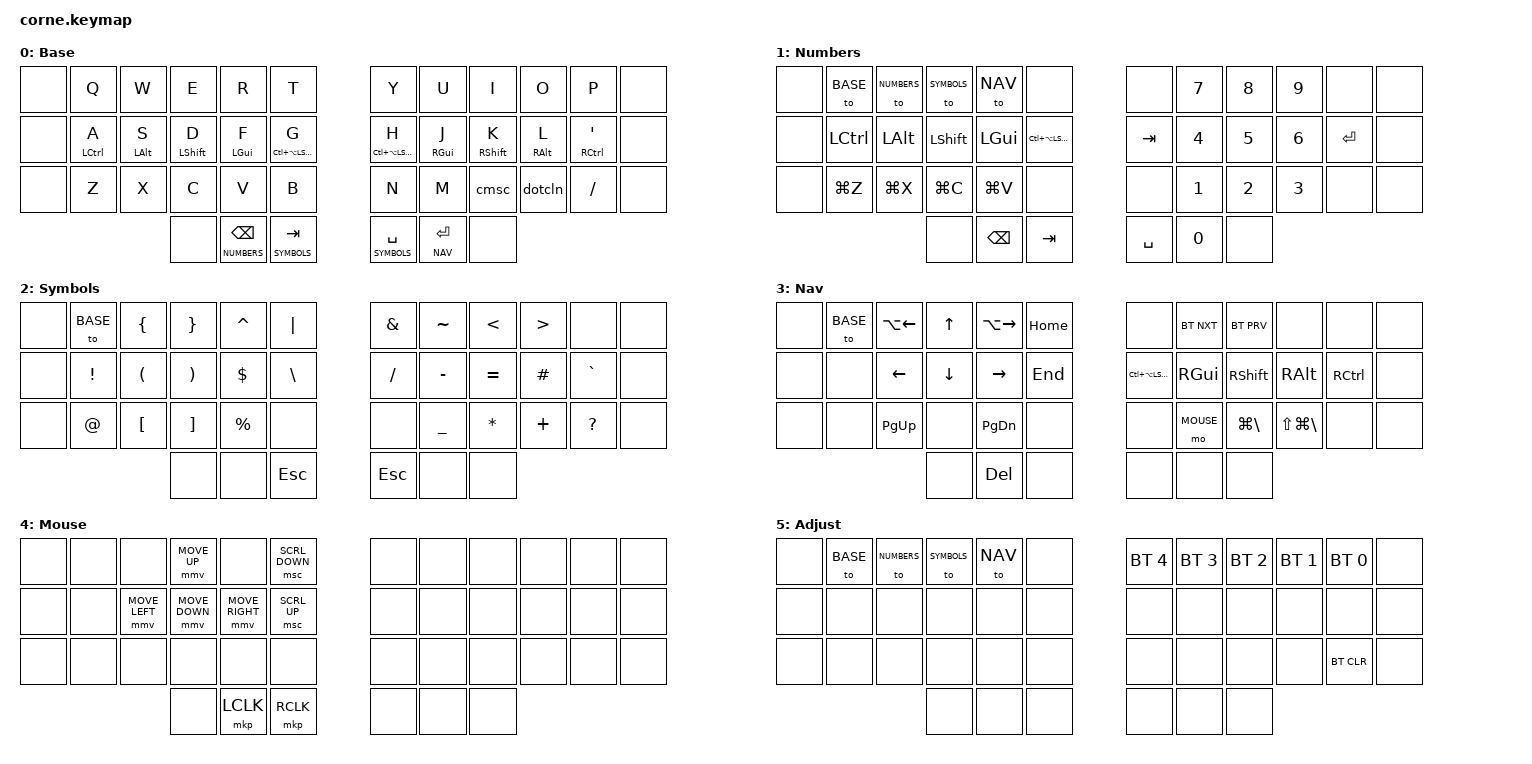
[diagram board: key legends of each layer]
/*
 * Copyright (c) 2020 The ZMK Contributors
 *
 * SPDX-License-Identifier: MIT
 */

#define ZMK_MOUSE_DEFAULT_MOVE_VAL 1500
#define ZMK_MOUSE_DEFAULT_SCRL_VAL 20

#include <behaviors.dtsi>
#include <behaviors/mouse_keys.dtsi>
#include <dt-bindings/zmk/keys.h>
#include <dt-bindings/zmk/mouse.h>
#include <dt-bindings/zmk/bt.h>

#define BASE    0
#define NUMBERS 1
#define SYMBOLS 2
#define NAV     3
#define MOUSE   4
#define ADJUST  5

#define EMOJI LC(LG(SPACE))
#define HYPER LC(LA(LS(LGUI)))
#define MEH LC(LA(LSHIFT))

#define OP_AUTOFILL LG(BACKSLASH)
#define OP_QUICKACC LS(LG(BACKSLASH))

#define KEYS_L 0 1 2 3 4 5 12 13 14 15 16 17 24 25 26 27 28 29
#define KEYS_R 6 7 8 9 10 11 18 19 20 21 22 23 30 31 32 33 34 35
#define THUMBS 36 37 38 39 40 41

&mt {
    quick-tap-ms = <180>;
};

&lt {
    quick-tap-ms = <180>;
};

&mmv {
    acceleration-exponent = <1>;
    time-to-max-speed-ms = <500>;
    delay-ms = <0>;
};

&msc {
    acceleration-exponent = <1>;
    time-to-max-speed-ms = <40>;
    delay-ms = <0>;
};

/ {
        behaviors {
            bhm: balanced_homerow_mods {
                compatible = "zmk,behavior-hold-tap";
                label = "HOMEROW_MODS";
                #binding-cells = <2>;
                bindings = <&kp>, <&kp>;
                flavor = "balanced";
                tapping-term-ms = <165>;
                quick-tap-ms = <145>;
            };
            // https://github.com/urob/zmk-config#timeless-homerow-mods
            thml: timeless_homerow_mods_left {
                compatible = "zmk,behavior-hold-tap";
                label = "TIMELESS_HOMEROW_MODS_LEFT";
                #binding-cells = <2>;
                bindings = <&kp>, <&kp>;
                flavor = "balanced";
                tapping-term-ms = <280>;
                quick-tap-ms = <180>;
                require-prior-idle-ms = <95>;
                hold-trigger-key-positions = <KEYS_R THUMBS>;
                hold-trigger-on-release;
            };
            thmr: timeless_homerow_mods_right {
                compatible = "zmk,behavior-hold-tap";
                label = "TIMELESS_HOMEROW_MODS_RIGHT";
                #binding-cells = <2>;
                bindings = <&kp>, <&kp>;
                flavor = "balanced";
                tapping-term-ms = <280>;
                quick-tap-ms = <180>;
                require-prior-idle-ms = <95>;
                hold-trigger-key-positions = <KEYS_L THUMBS>;
                hold-trigger-on-release;
            };
            cmsc: comma_semicolon {
                compatible = "zmk,behavior-mod-morph";
                label = "COMMA_SEMICOLON";
                #binding-cells = <0>;
                bindings = <&kp COMMA>, <&kp SEMICOLON>;
                mods = <(MOD_LSFT|MOD_RSFT)>;
            };
            dotcln: dot_colon {
                compatible = "zmk,behavior-mod-morph";
                label = "DOT_COLON";
                #binding-cells = <0>;
                bindings = <&kp DOT>, <&kp COLON>;
                mods = <(MOD_LSFT|MOD_RSFT)>;
            };
        };

        combos {
            compatible = "zmk,combos";
            combo_caps_word {
                timeout-ms = <50>;
                layers = <BASE>;
                key-positions = <26 27>;
                bindings = <&caps_word>;
            };
            combo_emoji {
                timeout-ms = <50>;
                layers = <BASE>;
                key-positions = <32 33>;
                bindings = <&kp EMOJI>;
            };
            combo_esc {
                timeout-ms = <100>;
                layers = <BASE NUMBERS SYMBOLS NAV>;
                key-positions = <38 39>;
                bindings = <&kp ESC>;
            };
            combo_adjust {
                timeout-ms = <100>;
                layers = <BASE>;
                key-positions = <37 40>;
                bindings = <&mo ADJUST>;
            };
            combo_gui_left {
                timeout-ms = <100>;
                layers = <NAV>;
                key-positions = <2 3>;
                bindings = <&kp LG(LEFT)>;
            };
            combo_gui_right {
                timeout-ms = <100>;
                layers = <NAV>;
                key-positions = <3 4>;
                bindings = <&kp LG(RIGHT)>;
            };
        };

        keymap {
                compatible = "zmk,keymap";

                base_layer {
                        display-name = "Base";
                        bindings = <
   &none &kp Q         &kp W        &kp E          &kp R        &kp T        &kp Y        &kp U        &kp I          &kp O        &kp P           &none
   &none &thml LCTRL A &thml LALT S &thml LSHIFT D &thml LGUI F &thml MEH G &thmr MEH H  &thmr RGUI J &thmr RSHIFT K &thmr RALT L &thmr RCTRL SQT &none
   &none &kp Z         &kp X        &kp C          &kp V        &kp B        &kp N        &kp M        &cmsc          &dotcln      &kp SLASH       &none
   &none  &lt NUMBERS BSPC  &lt SYMBOLS TAB  &lt SYMBOLS SPACE  &lt NAV ENTER  &none
                        >;
                };
                numbers_layer {
                        display-name = "Numbers";
                        bindings = <
   &none &to BASE  &to NUMBERS &to SYMBOLS &to NAV   &none   &none   &kp N7  &kp N8  &kp N9  &none     &none
   &none &kp LCTRL &kp LALT    &kp LSHIFT  &kp LGUI  &kp MEH &kp TAB &kp N4  &kp N5  &kp N6  &kp ENTER &none
   &none &kp LG(Z) &kp LG(X)   &kp LG(C)   &kp LG(V) &none   &none   &kp N1  &kp N2  &kp N3  &none     &none
   &none  &kp BSPC  &kp TAB  &kp SPACE  &kp N0  &none
                        >;
                };

                symbols_layer {
                        display-name = "Symbols";
                        bindings = <
   &none &to BASE &kp LBRC &kp RBRC &kp CARET   &kp PIPE &kp AMPS &kp TILDE  &kp LT        &kp GT   &none      &none
   &none &kp EXCL &kp LPAR &kp RPAR &kp DOLLAR  &kp BSLH &kp FSLH &kp MINUS  &kp EQUAL     &kp HASH &kp GRAVE  &none
   &none &kp AT   &kp LBKT &kp RBKT &kp PERCENT &none    &none    &kp UNDER  &kp ASTERISK  &kp PLUS &kp QMARK  &none
   &none  &none &kp ESC  &kp ESC  &none  &none
                         >;
                };
                nav_layer {
                        display-name = "Nav";
                        bindings = <
   &none &to BASE &kp LA(LEFT) &kp UP   &kp LA(RIGHT) &kp HOME &none     &bt BT_NXT &bt BT_PRV      &none           &none      &none
   &none &none    &kp LEFT     &kp DOWN &kp RIGHT     &kp END  &kp MEH   &kp RGUI   &kp RSHIFT      &kp RALT        &kp RCTRL  &none
   &none &none    &kp PG_UP    &none    &kp PG_DN     &none    &none     &mo MOUSE  &kp OP_AUTOFILL &kp OP_QUICKACC &none      &none
   &none  &kp DEL  &none  &none  &none  &none
                         >;
                };
                mouse_layer {
                        display-name = "Mouse";
                        bindings = <
   &none &none &none          &mmv MOVE_UP   &none           &msc SCRL_DOWN &none &none &none &none &none &none
   &none &none &mmv MOVE_LEFT &mmv MOVE_DOWN &mmv MOVE_RIGHT &msc SCRL_UP   &none &none &none &none &none &none
   &none &none &none          &none          &none           &none          &none &none &none &none &none &none
   &none &mkp LCLK &mkp RCLK &none  &none  &none
                        >;
                };
                adjust_layer {
                        display-name = "Adjust";
                        bindings = <
   &none &to BASE &to NUMBERS &to SYMBOLS &to NAV &none &bt BT_SEL 4 &bt BT_SEL 3 &bt BT_SEL 2 &bt BT_SEL 1 &bt BT_SEL 0 &none
   &none &none    &none       &none       &none   &none &none        &none        &none        &none        &none        &none
   &none &none    &none       &none       &none   &none &none        &none        &none        &none        &bt BT_CLR   &none
   &none  &none  &none  &none  &none  &none
                        >;
                };
        };
};

// vim: ft=cpp
